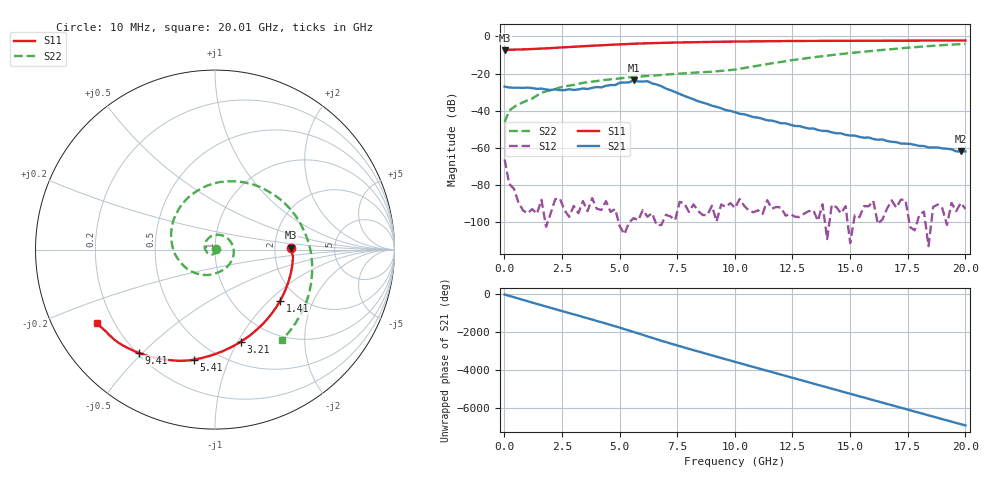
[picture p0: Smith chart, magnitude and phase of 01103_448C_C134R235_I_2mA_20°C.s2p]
!;Filter: kein Filter
!auto
!3/21/2019 9:26:52 AM
!3/21/2019 9:27:07 AM
!SP-Measurements Prober G4
!SP-Measurements Prober G4
!134
!235
!12
!20
!-20
!0.00199954
!1.75
!0.22129449
!0.22129449
# Hz S  RI  R 50
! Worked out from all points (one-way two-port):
!   101 points, 10 MHz to 20.01 GHz, reference 50 ohm
!   highest |S21| = -23.75 dB at 5.61 GHz (marker M1); lowest = -62.0 dB at 19.81 GHz (marker M2)
!   lowest |S11| = -7.5 dB at 10 MHz (marker M3), VSWR 2.46, Z = 123 + j3.48 ohm
!   |S11| at or under -10 dB: nowhere
!   |S22| runs from -46.1 to -4.1 dB; largest |S21 - S12| = 0.065
!   S11 on the Smith chart (normalised r, x): 10 MHz: 2.46, +0.07; 1.41 GHz: 1.60, -1.17; 3.21 GHz: 0.72, -1.03; 5.41 GHz: 0.38, -0.75; 9.41 GHz: 0.21, -0.49; 20.01 GHz: 0.14, -0.28
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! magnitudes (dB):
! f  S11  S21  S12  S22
! 10 MHz  -7.5  -27.1  -66.2  -46.1
! 210 MHz  -7.2  -27.5  -79.4  -40.0
! 610 MHz  -7.1  -27.6  -89.4  -36.6
! 1.41 GHz  -6.7  -28.3  -95.5  -31.9
! 1.81 GHz  -6.5  -28.6  -102.5  -29.6
! 3.21 GHz  -5.5  -28.6  -95.2  -25.6
! 3.41 GHz  -5.3  -28.1  -88.7  -25.1
! 4.21 GHz  -4.8  -27.5  -93.5  -23.7
! 4.81 GHz  -4.4  -26.2  -93.0  -22.9
! 5.01 GHz  -4.3  -25.0  -102.4  -22.6
! 5.41 GHz  -4.1  -24.8  -100.2  -22.1
! 5.61 GHz  -4.0  -23.7  -97.8  -21.9
! 6.21 GHz  -3.7  -24.1  -97.1  -21.3
! 6.81 GHz  -3.5  -26.8  -101.6  -20.8
! 8.41 GHz  -3.1  -34.9  -94.0  -19.4
! 9.41 GHz  -2.9  -38.7  -90.5  -18.6
! 10.01 GHz  -2.8  -40.8  -92.4  -17.9
! 12.01 GHz  -2.6  -46.8  -92.2  -13.8
! 13.41 GHz  -2.5  -49.6  -93.6  -11.3
! 16.81 GHz  -2.3  -56.8  -88.3  -6.9
! 19.81 GHz  -2.2  -62.0  -89.7  -4.2
! 20.01 GHz  -2.3  -61.9  -92.9  -4.1
